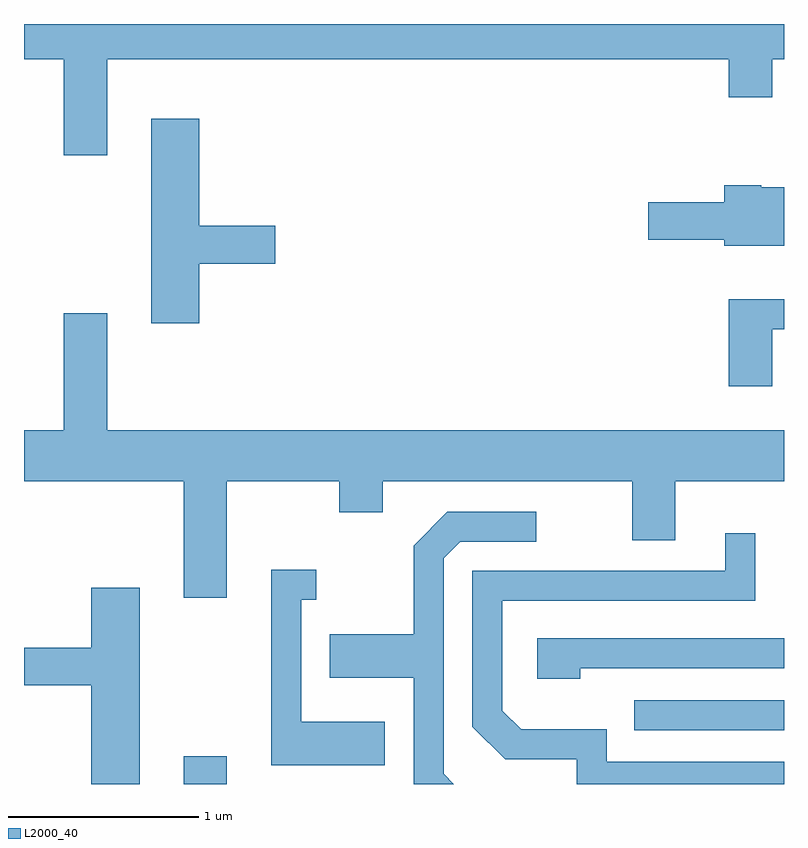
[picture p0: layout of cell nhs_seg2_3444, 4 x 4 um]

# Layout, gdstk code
import gdstk
lib = gdstk.Library(unit=1e-6, precision=1e-09)
def R(c, l, rs):  # rectangles x0, y0, x1, y1
    for r in rs: c.add(gdstk.rectangle(r[:2], r[2:], *l))
def P(c, l, *ps):  # polygons
    for p in ps: c.add(gdstk.Polygon(p, *l))
L2000_40 = (2000, 40)

nhs_seg2_3444 = lib.new_cell('nhs_seg2_3444')
R(nhs_seg2_3444, L2000_40, [(286.451,1077.802,286.679,1077.949), (288.823,1078.086,289.611,1078.244)])
P(nhs_seg2_3444, L2000_40, [(286.049,1081.616),(289.321,1081.616),(289.321,1081.416),(289.549,1081.416),(289.549,1081.616),(289.611,1081.616),(289.611,1081.802),(285.611,1081.802),(285.611,1081.616),(285.821,1081.616),(285.821,1081.111),(286.049,1081.111)],
  [(286.534,1080.541),(286.934,1080.541),(286.934,1080.739),(286.534,1080.739),(286.534,1081.304),(286.281,1081.304),(286.281,1080.226),(286.534,1080.226)],
  [(289.611,1080.944),(289.49,1080.944),(289.49,1080.954),(289.296,1080.954),(289.296,1080.864),(288.896,1080.864),(288.896,1080.666),(289.296,1080.666),(289.296,1080.636),(289.611,1080.636)],
  [(289.549,1080.196),(289.611,1080.196),(289.611,1080.354),(289.321,1080.354),(289.321,1079.896),(289.549,1079.896)],
  [(286.679,1079.396),(287.271,1079.396),(287.271,1079.231),(287.499,1079.231),(287.499,1079.396),(288.811,1079.396),(288.811,1079.086),(289.039,1079.086),(289.039,1079.396),(289.611,1079.396),(289.611,1079.664),(286.049,1079.664),(286.049,1080.279),(285.821,1080.279),(285.821,1079.664),(285.611,1079.664),(285.611,1079.396),(286.451,1079.396),(286.451,1078.781),(286.679,1078.781)],
  [(287.819,1077.857),(287.819,1078.989),(287.907,1079.076),(288.308,1079.076),(288.308,1079.234),(287.839,1079.234),(287.661,1079.057),(287.661,1078.589),(287.221,1078.589),(287.221,1078.361),(287.661,1078.361),(287.661,1077.802),(287.874,1077.802)],
  [(289.611,1077.919),(288.679,1077.919),(288.679,1078.089),(288.227,1078.089),(288.129,1078.187),(288.129,1078.766),(289.459,1078.766),(289.459,1079.123),(289.301,1079.123),(289.301,1078.924),(287.971,1078.924),(287.971,1078.104),(288.144,1077.931),(288.521,1077.931),(288.521,1077.802),(289.611,1077.802)],
  [(287.509,1078.129),(287.069,1078.129),(287.069,1078.771),(287.148,1078.771),(287.148,1078.929),(286.911,1078.929),(286.911,1077.901),(287.509,1077.901)],
  [(286.219,1078.834),(285.966,1078.834),(285.966,1078.519),(285.611,1078.519),(285.611,1078.321),(285.966,1078.321),(285.966,1077.802),(286.219,1077.802)],
  [(288.539,1078.411),(289.611,1078.411),(289.611,1078.569),(288.311,1078.569),(288.311,1078.356),(288.539,1078.356)])

lib.write_gds('nhs_seg2_3444.gds')
